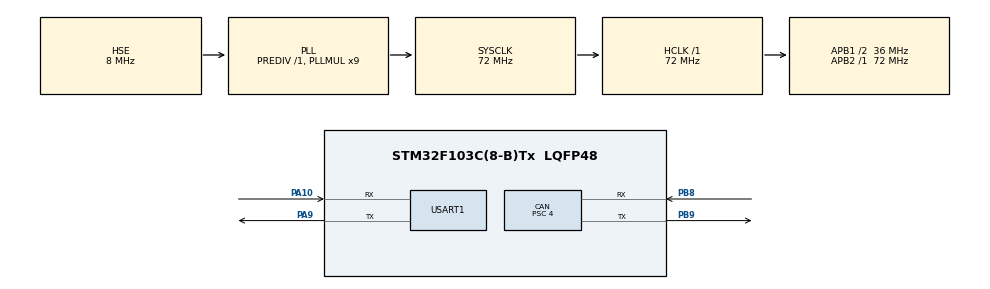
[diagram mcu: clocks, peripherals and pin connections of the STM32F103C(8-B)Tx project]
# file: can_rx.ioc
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CAN.BS1=CAN_BS1_15TQ
CAN.BS2=CAN_BS2_2TQ
CAN.CalculateBaudRate=500000
CAN.CalculateTimeBit=2000
CAN.CalculateTimeQuantum=111.11111111111111
CAN.Prescaler=4
CAN.TTCM=ENABLE
Mcu.Family=STM32F1
Mcu.Name=STM32F103C(8-B)Tx
Mcu.Package=LQFP48
NVIC.PriorityGroup=NVIC_PRIORITYGROUP_4
NVIC.USB_LP_CAN1_RX0_IRQn=true\:0\:0\:false\:false\:true\:true\:true\:true
PA10.Mode=Asynchronous
PA10.Signal=USART1_RX
PA13.Mode=Serial_Wire
PA13.Signal=SYS_JTMS-SWDIO
PA14.Mode=Serial_Wire
PA14.Signal=SYS_JTCK-SWCLK
PA9.Mode=Asynchronous
PA9.Signal=USART1_TX
PB8.Mode=CAN_Activate
PB8.Signal=CAN_RX
PB9.Mode=CAN_Activate
PB9.Signal=CAN_TX
PD0-OSC_IN.Mode=HSE-External-Oscillator
PD0-OSC_IN.Signal=RCC_OSC_IN
PD1-OSC_OUT.Mode=HSE-External-Oscillator
PD1-OSC_OUT.Signal=RCC_OSC_OUT
ProjectManager.HeapSize=0x200
ProjectManager.StackSize=0x400
ProjectManager.TargetToolchain=STM32CubeIDE
RCC.AHBFreq_Value=72000000
RCC.APB1CLKDivider=RCC_HCLK_DIV2
RCC.APB1Freq_Value=36000000
RCC.APB1TimFreq_Value=72000000
RCC.APB2Freq_Value=72000000
RCC.APB2TimFreq_Value=72000000
RCC.HCLKFreq_Value=72000000
RCC.PLLMUL=RCC_PLL_MUL9
RCC.PLLSourceVirtual=RCC_PLLSOURCE_HSE
RCC.SYSCLKFreq_VALUE=72000000
RCC.SYSCLKSource=RCC_SYSCLKSOURCE_PLLCLK
RCC.USBFreq_Value=72000000
USART1.VirtualMode=VM_ASYNC
board=custom

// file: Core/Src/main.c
/* USER CODE BEGIN Header */
/**
  ******************************************************************************
  * @file           : main.c
  * @brief          : Main program body
  ******************************************************************************
  * @attention
  *
  * Copyright (c) 2023 STMicroelectronics.
  * All rights reserved.
  *
  * This software is licensed under terms that can be found in the LICENSE file
  * in the root directory of this software component.
  * If no LICENSE file comes with this software, it is provided AS-IS.
  *
  ******************************************************************************
  */
/* USER CODE END Header */
#include "main.h"

/* USER CODE BEGIN Includes */
#include "stdio.h"
/* USER CODE END Includes */

CAN_HandleTypeDef hcan;

UART_HandleTypeDef huart1;

void SystemClock_Config(void);
static void MX_GPIO_Init(void);
static void MX_CAN_Init(void);
static void MX_USART1_UART_Init(void);

/* USER CODE BEGIN 0 */
#define MAX_CAN_RX_MESSAGE 50

typedef struct {
	CAN_RxHeaderTypeDef header;
	uint8_t data[8];
}can_rx_message_t;
can_rx_message_t rx_message[MAX_CAN_RX_MESSAGE];
uint8_t rx_in = 0;
uint8_t rx_out = 0;

int _write(int file, char *ptr, int len)
{
	HAL_UART_Transmit(&huart1, (uint8_t *)ptr, (uint16_t)len, 0xFFFF);
	return (len);
}

void HAL_CAN_RxFifo0MsgPendingCallback(CAN_HandleTypeDef *hcan)
{
  if (HAL_CAN_GetRxMessage(hcan, CAN_RX_FIFO0, &rx_message[rx_in].header, rx_message[rx_in].data) == HAL_OK)
  {
  	rx_in = (rx_in + 1) % MAX_CAN_RX_MESSAGE;
  }
}

void HAL_CAN_ErrorCallback(CAN_HandleTypeDef *hcan)
{
}
/* USER CODE END 0 */

int main(void)
{
  /* USER CODE BEGIN 1 */
	can_rx_message_t *msg;
  /* USER CODE END 1 */

  /* MCU Configuration--------------------------------------------------------*/

  /* Reset of all peripherals, Initializes the Flash interface and the Systick. */
  HAL_Init();

  /* Configure the system clock */
  SystemClock_Config();

  /* Initialize all configured peripherals */
  MX_GPIO_Init();
  MX_CAN_Init();
  MX_USART1_UART_Init();
  /* USER CODE BEGIN 2 */

  HAL_CAN_Start(&hcan);
  if (HAL_CAN_ActivateNotification(&hcan, CAN_IT_RX_FIFO0_MSG_PENDING) != HAL_OK)
  {
    /* Notification Error */
    Error_Handler();
  }
  /* USER CODE END 2 */

  /* Infinite loop */
  /* USER CODE BEGIN WHILE */
  while (1)
  {
  	if(rx_in != rx_out) {
  		msg = &rx_message[rx_out];
  		rx_out = (rx_out+1) % MAX_CAN_RX_MESSAGE;
  		printf("Rx ID: 0x%3lX, DLC: %ld, Data: ", msg->header.StdId, msg->header.DLC);
  		for(uint8_t i=0;i<msg->header.DLC;i++) {
  			printf("%02X, ", msg->data[i]);
  		}
  		printf("\n");
  	}
    /* USER CODE END WHILE */

  }
}

void SystemClock_Config(void)
{
  RCC_OscInitTypeDef RCC_OscInitStruct = {0};
  RCC_ClkInitTypeDef RCC_ClkInitStruct = {0};

  /** Initializes the RCC Oscillators according to the specified parameters
  * in the RCC_OscInitTypeDef structure.
  */
  RCC_OscInitStruct.OscillatorType = RCC_OSCILLATORTYPE_HSE;
  RCC_OscInitStruct.HSEState = RCC_HSE_ON;
  RCC_OscInitStruct.HSEPredivValue = RCC_HSE_PREDIV_DIV1;
  RCC_OscInitStruct.HSIState = RCC_HSI_ON;
  RCC_OscInitStruct.PLL.PLLState = RCC_PLL_ON;
  RCC_OscInitStruct.PLL.PLLSource = RCC_PLLSOURCE_HSE;
  RCC_OscInitStruct.PLL.PLLMUL = RCC_PLL_MUL9;
  if (HAL_RCC_OscConfig(&RCC_OscInitStruct) != HAL_OK)
  {
    Error_Handler();
  }

  /** Initializes the CPU, AHB and APB buses clocks
  */
  RCC_ClkInitStruct.ClockType = RCC_CLOCKTYPE_HCLK|RCC_CLOCKTYPE_SYSCLK
                              |RCC_CLOCKTYPE_PCLK1|RCC_CLOCKTYPE_PCLK2;
  RCC_ClkInitStruct.SYSCLKSource = RCC_SYSCLKSOURCE_PLLCLK;
  RCC_ClkInitStruct.AHBCLKDivider = RCC_SYSCLK_DIV1;
  RCC_ClkInitStruct.APB1CLKDivider = RCC_HCLK_DIV2;
  RCC_ClkInitStruct.APB2CLKDivider = RCC_HCLK_DIV1;

  if (HAL_RCC_ClockConfig(&RCC_ClkInitStruct, FLASH_LATENCY_2) != HAL_OK)
  {
    Error_Handler();
  }
}

static void MX_CAN_Init(void)
{

  /* USER CODE BEGIN CAN_Init 0 */
  CAN_FilterTypeDef  sFilterConfig;

  /* USER CODE END CAN_Init 0 */

  hcan.Instance = CAN1;
  hcan.Init.Prescaler = 4;
  hcan.Init.Mode = CAN_MODE_NORMAL;
  hcan.Init.SyncJumpWidth = CAN_SJW_1TQ;
  hcan.Init.TimeSeg1 = CAN_BS1_15TQ;
  hcan.Init.TimeSeg2 = CAN_BS2_2TQ;
  hcan.Init.TimeTriggeredMode = ENABLE;
  hcan.Init.AutoBusOff = DISABLE;
  hcan.Init.AutoWakeUp = DISABLE;
  hcan.Init.AutoRetransmission = DISABLE;
  hcan.Init.ReceiveFifoLocked = DISABLE;
  hcan.Init.TransmitFifoPriority = DISABLE;
  if (HAL_CAN_Init(&hcan) != HAL_OK)
  {
    Error_Handler();
  }
  /* USER CODE BEGIN CAN_Init 2 */

  sFilterConfig.FilterBank = 0;
  sFilterConfig.FilterMode = CAN_FILTERMODE_IDMASK;
  sFilterConfig.FilterScale = CAN_FILTERSCALE_32BIT;
  sFilterConfig.FilterIdHigh = 0x0000;
  sFilterConfig.FilterIdLow = 0x0000;
  sFilterConfig.FilterMaskIdHigh = 0x0000;
  sFilterConfig.FilterMaskIdLow = 0x0000;
  sFilterConfig.FilterFIFOAssignment = CAN_RX_FIFO0;
  sFilterConfig.FilterActivation = ENABLE;
  sFilterConfig.SlaveStartFilterBank = 14;

  if (HAL_CAN_ConfigFilter(&hcan, &sFilterConfig) != HAL_OK)
  {
    /* Filter configuration Error */
    Error_Handler();
  }

  /* USER CODE END CAN_Init 2 */

}

static void MX_USART1_UART_Init(void)
{

  huart1.Instance = USART1;
  huart1.Init.BaudRate = 115200;
  huart1.Init.WordLength = UART_WORDLENGTH_8B;
  huart1.Init.StopBits = UART_STOPBITS_1;
  huart1.Init.Parity = UART_PARITY_NONE;
  huart1.Init.Mode = UART_MODE_TX_RX;
  huart1.Init.HwFlowCtl = UART_HWCONTROL_NONE;
  huart1.Init.OverSampling = UART_OVERSAMPLING_16;
  if (HAL_UART_Init(&huart1) != HAL_OK)
  {
    Error_Handler();
  }

}

static void MX_GPIO_Init(void)
{

  /* GPIO Ports Clock Enable */
  __HAL_RCC_GPIOD_CLK_ENABLE();
  __HAL_RCC_GPIOA_CLK_ENABLE();
  __HAL_RCC_GPIOB_CLK_ENABLE();

}

void Error_Handler(void)
{
  __disable_irq();
  while (1)
  {
  }
}
